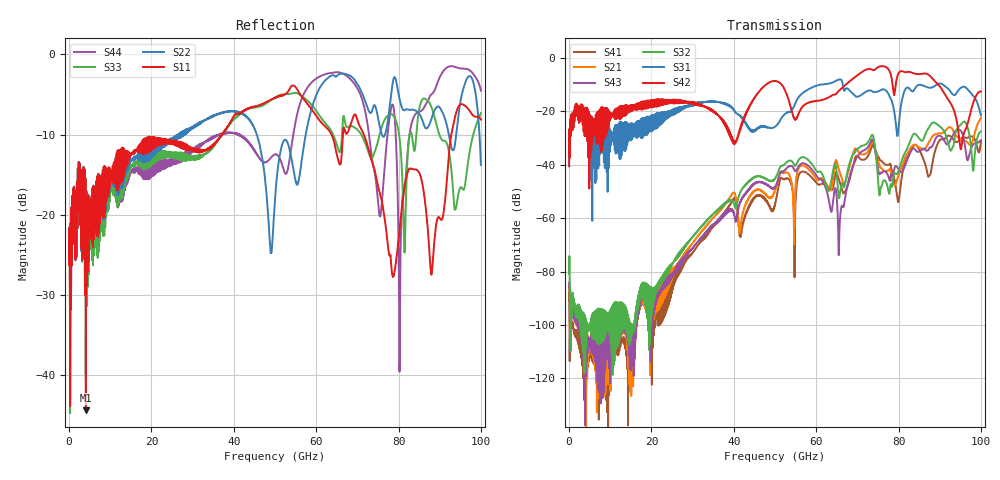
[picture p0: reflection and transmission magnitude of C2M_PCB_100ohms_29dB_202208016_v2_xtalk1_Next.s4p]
! Info: Touchstone file created by Circ.  Input file=Intel_C2M_200G_13p0in_202208016_staggered.circ
# Hz S RI R 50
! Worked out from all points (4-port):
!   10000 points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, 10 MHz to 100 GHz, reference 50 ohm
!   strongest paths, dB at 10 MHz, 25.01 GHz, 50.01 GHz, 75.01 GHz, 100 GHz:
!     S42: -40.5, -16.1, -8.6, -3.4, -12.6
!     S31: -40.5, -20.3, -25.7, -12.6, -21.4
!     S32: -80.7, -77.4, -45.0, -44.9, -27.5
!     S43: -85.3, -81.1, -48.2, -41.3, -30.8
!     S21: -85.6, -79.9, -49.4, -38.4, -22.5
!     S41: -87.4, -81.6, -54.4, -36.8, -31.5
!   lowest |S11| = -44.4 dB at 4.09 GHz (marker M1), VSWR 1.01, Z = 50.4 - j0.462 ohm
!   |S11| at or under -10 dB: start of sweep to 37.07 GHz; 63.73 GHz to 66.48 GHz (2.749 GHz wide, 4.22 % of centre); 71.57 GHz to 92.83 GHz (21.26 GHz wide, 25.9 % of centre)
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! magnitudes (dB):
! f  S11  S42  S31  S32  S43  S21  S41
! 10 MHz  -26.2  -40.5  -40.5  -80.7  -85.3  -85.6  -87.4
! 4.09 GHz  -44.4  -19.0  -21.1  -100.4  -106.4  -104.6  -110.5
! 53.38 GHz  -4.5  -16.0  -20.1  -38.4  -40.5  -43.4  -45.3
! 65.64 GHz  -13.6  -12.1  -8.0  -52.1  -65.1  -42.5  -46.0
! 76.14 GHz  -18.8  -3.0  -11.7  -46.7  -42.7  -41.8  -39.0
! 95.19 GHz  -6.2  -34.0  -11.1  -24.8  -27.3  -30.8  -30.1
! 100 GHz  -8.1  -12.6  -21.4  -27.5  -30.8  -22.5  -31.5
